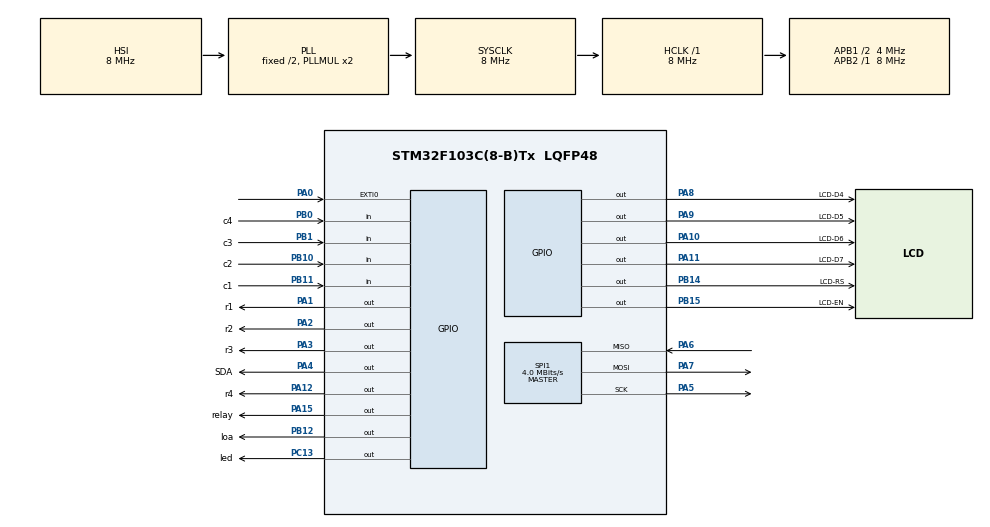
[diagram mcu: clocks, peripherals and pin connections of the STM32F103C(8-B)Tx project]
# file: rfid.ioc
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Mcu.Family=STM32F1
Mcu.Name=STM32F103C(8-B)Tx
Mcu.Package=LQFP48
NVIC.EXTI0_IRQn=true\:1\:0\:true\:false\:true\:true\:true\:true
NVIC.PriorityGroup=NVIC_PRIORITYGROUP_4
PA0-WKUP.GPIO_ModeDefaultEXTI=GPIO_MODE_IT_FALLING
PA0-WKUP.GPIO_PuPd=GPIO_PULLUP
PA0-WKUP.Signal=GPXTI0
PA1.GPIO_Label=r1
PA1.GPIO_ModeDefaultOutputPP=GPIO_MODE_OUTPUT_PP
PA1.GPIO_PuPd=GPIO_PULLUP
PA1.Signal=GPIO_Output
PA10.GPIO_Label=LCD-D6
PA10.GPIO_PuPd=GPIO_PULLUP
PA10.Signal=GPIO_Output
PA11.GPIO_Label=LCD-D7
PA11.GPIO_PuPd=GPIO_PULLUP
PA11.Signal=GPIO_Output
PA12.GPIO_Label=r4
PA12.GPIO_ModeDefaultOutputPP=GPIO_MODE_OUTPUT_PP
PA12.GPIO_PuPd=GPIO_PULLUP
PA12.Signal=GPIO_Output
PA13.Mode=Serial_Wire
PA13.Signal=SYS_JTMS-SWDIO
PA14.Mode=Serial_Wire
PA14.Signal=SYS_JTCK-SWCLK
PA15.GPIO_Label=relay
PA15.GPIO_PuPd=GPIO_PULLUP
PA15.Signal=GPIO_Output
PA2.GPIO_Label=r2
PA2.GPIO_ModeDefaultOutputPP=GPIO_MODE_OUTPUT_PP
PA2.GPIO_PuPd=GPIO_PULLUP
PA2.Signal=GPIO_Output
PA3.GPIO_Label=r3
PA3.GPIO_ModeDefaultOutputPP=GPIO_MODE_OUTPUT_PP
PA3.GPIO_PuPd=GPIO_PULLUP
PA3.Signal=GPIO_Output
PA4.GPIO_Label=SDA
PA4.GPIO_PuPd=GPIO_PULLUP
PA4.Signal=GPIO_Output
PA5.Mode=Full_Duplex_Master
PA5.Signal=SPI1_SCK
PA6.Mode=Full_Duplex_Master
PA6.Signal=SPI1_MISO
PA7.Mode=Full_Duplex_Master
PA7.Signal=SPI1_MOSI
PA8.GPIO_Label=LCD-D4
PA8.GPIO_PuPd=GPIO_PULLUP
PA8.Signal=GPIO_Output
PA9.GPIO_Label=LCD-D5
PA9.GPIO_PuPd=GPIO_PULLUP
PA9.Signal=GPIO_Output
PB0.GPIO_Label=c4
PB0.GPIO_PuPd=GPIO_PULLUP
PB0.Signal=GPIO_Input
PB1.GPIO_Label=c3
PB1.GPIO_PuPd=GPIO_PULLUP
PB1.Signal=GPIO_Input
PB10.GPIO_Label=c2
PB10.GPIO_PuPd=GPIO_PULLUP
PB10.Signal=GPIO_Input
PB11.GPIO_Label=c1
PB11.GPIO_PuPd=GPIO_PULLUP
PB11.Signal=GPIO_Input
PB12.GPIO_Label=loa
PB12.GPIO_PuPd=GPIO_PULLUP
PB12.Signal=GPIO_Output
PB14.GPIO_Label=LCD-RS
PB14.GPIO_PuPd=GPIO_PULLUP
PB14.Signal=GPIO_Output
PB15.GPIO_Label=LCD-EN
PB15.GPIO_PuPd=GPIO_PULLUP
PB15.Signal=GPIO_Output
PC13-TAMPER-RTC.GPIO_Label=led
PC13-TAMPER-RTC.GPIO_PuPd=GPIO_PULLUP
PC13-TAMPER-RTC.Signal=GPIO_Output
ProjectManager.HeapSize=0x200
ProjectManager.StackSize=0x400
ProjectManager.TargetToolchain=MDK-ARM V5.27
RCC.AHBFreq_Value=8000000
RCC.APB1CLKDivider=RCC_HCLK_DIV2
RCC.APB1Freq_Value=4000000
RCC.APB1TimFreq_Value=8000000
RCC.APB2Freq_Value=8000000
RCC.APB2TimFreq_Value=8000000
RCC.HCLKFreq_Value=8000000
RCC.SYSCLKFreq_VALUE=8000000
RCC.SYSCLKSource=RCC_SYSCLKSOURCE_PLLCLK
RCC.USBFreq_Value=8000000
SPI1.CalculateBaudRate=4.0 MBits/s
SPI1.Direction=SPI_DIRECTION_2LINES
SPI1.Mode=SPI_MODE_MASTER
SPI1.VirtualType=VM_MASTER
board=custom

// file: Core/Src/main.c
/* USER CODE BEGIN Header */
/**
  ******************************************************************************
  * @file           : main.c
  * @brief          : Main program body
  ******************************************************************************
  * @attention
  *
  * <h2><center>&copy; Copyright (c) 2021 STMicroelectronics.
  * All rights reserved.</center></h2>
  *
  * This software component is licensed by ST under BSD 3-Clause license,
  * the "License"; You may not use this file except in compliance with the
  * License. You may obtain a copy of the License at:
  *                        opensource.org/licenses/BSD-3-Clause
  *
  ******************************************************************************
  */
/* USER CODE END Header */
#include "main.h"

/* USER CODE BEGIN Includes */
#include "rfid.h"
#include "rc522.h"
#include "lcd_txt.h"
#include "keypad_4x4.h"
#include "Flash.h"
#include "stdio.h"
#include <stdlib.h>
#include <string.h>
/* USER CODE END Includes */

/* USER CODE BEGIN PTD */
typedef enum
{
    MODE_ENTERPASS = 0,
    MODE_CURRENPASS = 1,
    MODE_NEWPASS = 2,
    MODE_ADMINPASS = 3,
    MODE_ADDRFID = 4,
    MODE_DELERFID = 5,
    MODE_MENU_ADMIN = 6,
    MODE_BACKUP_DATA = 7
} mode_door;

extern rfid_store_t rfid_store;
/* USER CODE END PTD */

SPI_HandleTypeDef hspi1;

void SystemClock_Config(void);
static void MX_GPIO_Init(void);
static void MX_SPI1_Init(void);

/* USER CODE BEGIN 0 */

uint8_t i=0;
uint8_t key=0;
uint8_t pass[PASS_WORD_LENGTH]={' ',' ',' ',' '};
uint8_t pass1[PASS_WORD_LENGTH]={' ',' ',' ',' '};
uint8_t p_none[PASS_WORD_LENGTH]={' ',' ',' ',' '};
uint8_t str[5];
uint8_t serNum[5];
mode_door mode = MODE_ENTERPASS;
uint8_t flag_backup = 0;

#define OPEN_DOOR() do{ HAL_GPIO_WritePin(relay_GPIO_Port, relay_Pin, GPIO_PIN_SET);}while(0)
#define CLOSE_DOOR() do{ HAL_GPIO_WritePin(relay_GPIO_Port, relay_Pin, GPIO_PIN_RESET);}while(0)

void TT_enterPass(char key, uint8_t lengpass, uint8_t *pass, char *password, uint8_t *passIndex, uint8_t *pass1)
{
    static uint8_t pass_flag = 0;
	lcd_gotoxy(1,0);
	lcd_write(1,*(pass1 + 0));
	lcd_write(1,*(pass1 + 1));
	lcd_write(1,*(pass1 + 2));
	lcd_write(1,*(pass1 + 3));

	if (pass_flag == 3)
    {
        lcd_gotoxy(1,1);
        lcd_puts("Watting 30s");
        HAL_Delay(30000);
        lcd_gotoxy(1,1);
        lcd_puts("           ");
        lcd_gotoxy(1,0);
        pass_flag = 0;
    }
	else if(key != ' ' && key != '*' && key != '#')
    {
		if(key == 'D')
		{
			if(*passIndex > 0)
			{
				(*passIndex)--;
				*(pass + *passIndex)=' ';
				*(pass1 + *passIndex)=' ';//*****************************thua
				HAL_Delay(200);
			}
		}
		else
		{
			*(pass + *passIndex) = key;
			*(pass1 + *passIndex) = '*';//*****************************thua
			(*passIndex)++;
			*passIndex= (*passIndex >= lengpass)? lengpass : *passIndex;
			HAL_Delay(200);
		}
		if(*passIndex==lengpass)
		{
			*passIndex=0;
			uint8_t check = 0;
			for(uint8_t j=0; j<lengpass; j++)
			{
				if(*(password + j) == *(pass + j))
				{
					check++;
				}
			}
			if(check == lengpass)
			{
                pass_flag = 0; //co bao nhap sai so lan mat khau
                OPEN_DOOR();
				HAL_GPIO_WritePin(led_GPIO_Port, led_Pin,GPIO_PIN_RESET); //chan relay cua
                HAL_GPIO_WritePin(loa_GPIO_Port, loa_Pin,GPIO_PIN_SET); //chan relay cua
				lcd_gotoxy(1,0);
				lcd_puts("   --Unlock--");
				HAL_Delay(200);
				for(uint8_t j=0; j<lengpass; j++)
				{
					*(pass + j) = ' ';
					*(pass1 + j) = ' ';//*****************************thua
				}
                HAL_GPIO_WritePin(led_GPIO_Port, led_Pin,GPIO_PIN_SET);
                HAL_GPIO_WritePin(loa_GPIO_Port, loa_Pin,GPIO_PIN_RESET); //chan relay cua
                HAL_Delay(5000);
				lcd_gotoxy(1,0);
				lcd_puts("             ");
                CLOSE_DOOR();
			}
			else
			{
                pass_flag++;
//				HAL_GPIO_WritePin(loa_GPIO_Port,loa_Pin,GPIO_PIN_SET); //chan loa
				lcd_gotoxy(1,0);
				lcd_puts("wrong password!");
				HAL_Delay(700);
				for(uint8_t j=0; j<lengpass; j++)
				{
					*(pass + j) = ' ';
					*(pass1 + j) = ' ';//*****************************thua
				}
				lcd_gotoxy(1,0);
				lcd_puts("               ");
//				HAL_GPIO_WritePin(loa_GPIO_Port,loa_Pin,GPIO_PIN_RESET); //chan loa
			}
		}
	}
}

void TT_newPass(uint8_t key, uint8_t lengpass, uint8_t *pass, char *password, uint8_t *passIndex, mode_door *mode)
{
	lcd_gotoxy(1,0);
	for(uint8_t j = 0; j < lengpass; j++)
	{
		lcd_write(1,*(pass + j));
	}

	if(key != ' ' && key != '*' && key != '#'){
		if(key == 'D')
		{
			if(*passIndex > 0)
			{
				(*passIndex)--;
				*(pass + *passIndex)=' ';
				HAL_Delay(200);
			}
		}
		else
		{
			*(pass + *passIndex) = key;
			(*passIndex)++;
			*passIndex= (*passIndex >= lengpass)? lengpass : *passIndex;
			HAL_Delay(200);
		}
		if(*passIndex==lengpass)
		{
			*passIndex=0;
			uint8_t check = 0;
			for(uint8_t j=0; j<lengpass; j++)
			{
				*(password + j) = *(pass + j);
				check++;
			}
			if(check == lengpass)
			{
				lcd_gotoxy(1,0);
				lcd_puts("Success!");
				HAL_Delay(2000);
				lcd_gotoxy(1,0);
				lcd_puts("        ");
				for(uint8_t j=0; j<lengpass; j++)
				{
					*(pass + j) = ' ';
				}
				*mode = MODE_ENTERPASS;
				lcd_clear();
				lcd_gotoxy(0,0);
				lcd_puts("DOOR PASSWORD");
			}
		}
	}
}

void TT_currenPass(uint8_t key, uint8_t lengpass, uint8_t *pass, char *password, uint8_t *passIndex, mode_door *mode, uint8_t *pass1)
{
	lcd_gotoxy(1,0);
	for(uint8_t j = 0; j < lengpass; j++)
	{
		lcd_write(1,*(pass1 + j));
	}

	if(key != ' ' && key != '*' && key != '#'){
		if(key == 'D')
		{
			if(*passIndex > 0)
			{
				(*passIndex)--;
				*(pass + *passIndex)=' ';
				*(pass1 + *passIndex)=' ';//*****************************thua
				HAL_Delay(200);
			}
		}
		else
		{
			*(pass + *passIndex) = key;
			*(pass1 + *passIndex) = '*';//*****************************thua
			(*passIndex)++;
			*passIndex= (*passIndex >= lengpass)? lengpass : *passIndex;
			HAL_Delay(200);
		}
		if(*passIndex==lengpass)
		{
			*passIndex=0;
			uint8_t check = 0;
			for(uint8_t j=0; j<lengpass; j++)
			{
				if(*(password + j) == *(pass + j))
				{
					check++;
				}
			}
			if(check == lengpass)
			{
				*mode = MODE_NEWPASS;
				for(uint8_t j=0; j<lengpass; j++)
				{
					*(pass + j) = ' ';
					*(pass1 + j) = ' ';//*****************************thua
				}
				lcd_clear();
				lcd_gotoxy(0,0);
				lcd_puts("NEW PASSWORD: ");
			}
			else
			{
				lcd_gotoxy(1,0);
				lcd_puts("wrong password!");
				HAL_Delay(2000);
				lcd_gotoxy(1,0);
				lcd_puts("               ");
				for(uint8_t j=0; j<lengpass; j++)
				{
					*(pass + j) = ' ';
					*(pass1 + j) = ' ';//*****************************thua
				}
			}
		}
	}
}

void TT_adminPass(uint8_t key, uint8_t lengpass, uint8_t *pass, char *pass_ad, uint8_t *passIndex, mode_door *mode, uint8_t *pass1)
{
	lcd_gotoxy(1,0);
	for(uint8_t j = 0; j < lengpass; j++)
	{
		lcd_write(1,*(pass1 + j));
	}

	if(key != ' ' && key != '*' && key != '#'){
		if(key == 'D')
		{
			if(*passIndex > 0)
			{
				(*passIndex)--;
				*(pass + *passIndex)=' ';
				*(pass1 + *passIndex)=' ';//*****************************thua
				HAL_Delay(200);
			}
		}
		else
		{
			*(pass + *passIndex) = key;
			*(pass1 + *passIndex) = '*';//*****************************thua
			(*passIndex)++;
			*passIndex= (*passIndex >= lengpass)? lengpass : *passIndex;
			HAL_Delay(200);
		}
		if(*passIndex==lengpass)
		{
			*passIndex=0;
			uint8_t check = 0;
			for(uint8_t j=0; j<lengpass; j++)
			{
				if(*(pass_ad + j) == *(pass + j))
				{
					check++;
				}
			}
			if(check == lengpass)
			{
				*mode = MODE_MENU_ADMIN;
				for(uint8_t j=0; j<lengpass; j++)
				{
					*(pass + j) = ' ';
					*(pass1 + j) = ' ';//*****************************thua
				}
                lcd_clear();
                lcd_gotoxy(0,0);
                lcd_puts("ADMIN MENU: ");
                lcd_gotoxy(1,0);
                lcd_puts("Add Del Chan Bkp");
			}
			else
			{
				lcd_gotoxy(1,0);
				lcd_puts("wrong password!");
				HAL_Delay(2000);
				lcd_gotoxy(1,0);
				lcd_puts("               ");
				for(uint8_t j=0; j<lengpass; j++)
				{
					*(pass + j) = ' ';
					*(pass1 + j) = ' ';//*****************************thua
				}
			}
		}
	}
}

void TT_menu_admin(uint8_t key, mode_door *mode, uint8_t* flag_backup)
{
    if(key == 'A')
    {
        *mode = MODE_ADDRFID;
        lcd_clear();
        lcd_gotoxy(0,0);
        lcd_puts("ADD NEW RFID: ");
        lcd_gotoxy(1,0);
        lcd_puts("watting card...");
    }
    else if(key == 'D')
    {
       *mode = MODE_DELERFID;
        lcd_clear();
        lcd_gotoxy(0,0);
        lcd_puts("DELETE RFID: ");
        lcd_gotoxy(1,0);
        lcd_puts("watting card...");
    }
    else if(key == 'C')
    {
        lcd_clear();
        lcd_gotoxy(0,0);
        lcd_puts("CURREN PASSWORD: ");//CURREN PASS
        lcd_gotoxy(1,0);
        *mode = MODE_CURRENPASS;
        memcpy(pass, p_none, 4);
        memcpy(pass1, p_none, 4);
        i = 0;
    }
    else if(key == 'B')
    {
        *mode = MODE_BACKUP_DATA;
        *flag_backup = 0;
    }
}

void TT_backup_data(uint8_t* flag_backup, mode_door* mode)
{
    if(*flag_backup == 0)
    {
        rfid_store_data();
        lcd_clear();
        lcd_gotoxy(0,0);
        lcd_puts("BACKUP DATA");
        lcd_gotoxy(1,0);
        lcd_puts("watting...");
        HAL_Delay(1000);
        lcd_gotoxy(1,0);
        lcd_puts("          ");
        lcd_gotoxy(1,0);
        lcd_puts("OK");
        HAL_Delay(2000);
        *flag_backup = 1;
        *mode = MODE_ENTERPASS;
        lcd_clear();
        lcd_gotoxy(0,0);
        lcd_puts("DOOR PASSWORD");
        lcd_gotoxy(1,0);

    }
}
void TT_add_rfid(rfid_store_t* rfid_store, mode_door* mode)
{
    uint8_t str[5] = {0};
    if(TM_MFRC522_Request(PICC_REQIDL,str) == MI_OK) //dao ko PHAT HIEN THE
    {
        if(TM_MFRC522_Anticoll(str) == MI_OK)
        {
            if(rfid_get_id(str) == RFID_INVALID_ID)
            {
                /*them the truong hop khong ton tai the do*/
                rfid_add(str);
                *mode = MODE_ENTERPASS;
                lcd_gotoxy(1,0);
                lcd_puts("               ");
                lcd_gotoxy(1,0);
                lcd_puts("0k");
                HAL_Delay(2000);
                lcd_clear();
                lcd_gotoxy(0,0);
                lcd_puts("DOOR PASSWORD");
                lcd_gotoxy(1,0);

            }
            else
            {
                *mode = MODE_ENTERPASS;
                lcd_gotoxy(1,0);
                lcd_puts("               ");
                lcd_gotoxy(1,0);
                lcd_puts("already exist");
                HAL_Delay(2000);
                lcd_clear();
                lcd_gotoxy(0,0);
                lcd_puts("DOOR PASSWORD");
                lcd_gotoxy(1,0);
            }
        }
    }
}

void TT_dele_rfid(rfid_store_t* rfid_store, mode_door* mode)
{
    uint8_t str[5] = {0};
    if(TM_MFRC522_Request(PICC_REQIDL,str) == MI_OK) //dao ko PHAT HIEN THE
    {
        if(TM_MFRC522_Anticoll(str) == MI_OK)
        {
            if(rfid_get_id(str) != RFID_INVALID_ID)
            {
                /*them the truong hop khong ton tai the do*/
                rfid_delete(str);
                *mode = MODE_ENTERPASS;
                lcd_gotoxy(1,0);
                lcd_puts("               ");
                lcd_gotoxy(1,0);
                lcd_puts("0k");
                HAL_Delay(2000);
                lcd_clear();
                lcd_gotoxy(0,0);
                lcd_puts("DOOR PASSWORD");
                lcd_gotoxy(1,0);

            }
            else
            {
                *mode = MODE_ENTERPASS;
                lcd_gotoxy(1,0);
                lcd_puts("               ");
                lcd_gotoxy(1,0);
                lcd_puts("invalid");
                HAL_Delay(2000);
                lcd_clear();
                lcd_gotoxy(0,0);
                lcd_puts("DOOR PASSWORD");
                lcd_gotoxy(1,0);
            }
        }
    }
}

/* USER CODE END 0 */

int main(void)
{
  /* USER CODE BEGIN 1 */
    rfid_restore_data();
  /* USER CODE END 1 */

  /* MCU Configuration--------------------------------------------------------*/

  /* Reset of all peripherals, Initializes the Flash interface and the Systick. */
  HAL_Init();

  /* Configure the system clock */
  SystemClock_Config();

  /* Initialize all configured peripherals */
  MX_GPIO_Init();
  MX_SPI1_Init();
  /* USER CODE BEGIN 2 */
	TM_MFRC522_Init();
	lcd_init();
    HAL_GPIO_WritePin(led_GPIO_Port, led_Pin, GPIO_PIN_SET); //chan led
    HAL_GPIO_WritePin(loa_GPIO_Port, loa_Pin, GPIO_PIN_RESET); //chan loa
    lcd_clear();
    lcd_puts("DOOR PASSWORD");
	lcd_gotoxy(1,0);

  /* USER CODE END 2 */

  /* Infinite loop */
  /* USER CODE BEGIN WHILE */
  while (1)
  {
    key = keypad_get_key_value();
    // thiet lap che do
    if(key == '*' && mode != 0)
    {
        mode = MODE_ENTERPASS;
        i=0;
        lcd_clear();
        lcd_gotoxy(0,0);
        lcd_puts("DOOR PASSWORD");
        lcd_gotoxy(1,0);
    }
    else if(key == '#')
    {
        mode = MODE_ADMINPASS;
        i=0;
        lcd_clear();
        lcd_gotoxy(0,0);
        lcd_puts("ADMIN PASSWORD: ");//ADMIN PASS
        lcd_gotoxy(1,0);
    }

    switch(mode)
    {
        case MODE_ENTERPASS:
            TT_enterPass(key, PASS_WORD_LENGTH, pass, rfid_store.door_pass, &i, pass1);
            if(TM_MFRC522_Request(PICC_REQIDL,str) == MI_OK) //dao ko PHAT HIEN THE
            {
                if(TM_MFRC522_Anticoll(str) == MI_OK)
                {
                    if(rfid_get_id(str) != RFID_INVALID_ID)
                    {
                        OPEN_DOOR();
                        HAL_GPIO_WritePin(GPIOC,GPIO_PIN_13,GPIO_PIN_RESET);
                        HAL_GPIO_WritePin(loa_GPIO_Port,loa_Pin,GPIO_PIN_SET); //loa
                        lcd_gotoxy(1,0);
                        lcd_puts ("   --Unlock--");
                        HAL_Delay(200);
                        HAL_GPIO_WritePin(led_GPIO_Port,led_Pin,GPIO_PIN_SET);//led
                        HAL_GPIO_WritePin(loa_GPIO_Port,loa_Pin,GPIO_PIN_RESET);//loa
                        HAL_Delay(5000);
                        lcd_gotoxy(1,0);
                        lcd_puts ("              ");
                        CLOSE_DOOR();
                        memcpy(pass, p_none, 4);
                        memcpy(pass1, p_none, 4);
                        i = 0;
                    }
                }
             }
            break;
        case MODE_NEWPASS:
            TT_newPass(key, PASS_WORD_LENGTH, pass, rfid_store.door_pass, &i, &mode);
            break;
        case MODE_CURRENPASS:
            TT_currenPass(key,PASS_WORD_LENGTH, pass, rfid_store.door_pass, &i, &mode, pass1);
            break;
        case MODE_ADMINPASS:
            TT_adminPass(key,PASS_WORD_LENGTH, pass, rfid_store.admin_pass, &i, &mode, pass1);
            break;
        case MODE_ADDRFID:
            TT_add_rfid(&rfid_store, &mode);
            break;
        case MODE_DELERFID:
            TT_dele_rfid(&rfid_store, &mode);
            break;
        case MODE_MENU_ADMIN:
            TT_menu_admin(key, &mode, &flag_backup);
            break;
        case MODE_BACKUP_DATA:
            TT_backup_data(&flag_backup, &mode);
            break;
        default:
            break;
    }

    HAL_Delay(100);
    /* USER CODE END WHILE */

  }
}

void SystemClock_Config(void)
{
  RCC_OscInitTypeDef RCC_OscInitStruct = {0};
  RCC_ClkInitTypeDef RCC_ClkInitStruct = {0};

  /** Initializes the RCC Oscillators according to the specified parameters
  * in the RCC_OscInitTypeDef structure.
  */
  RCC_OscInitStruct.OscillatorType = RCC_OSCILLATORTYPE_HSI;
  RCC_OscInitStruct.HSIState = RCC_HSI_ON;
  RCC_OscInitStruct.HSICalibrationValue = RCC_HSICALIBRATION_DEFAULT;
  RCC_OscInitStruct.PLL.PLLState = RCC_PLL_ON;
  RCC_OscInitStruct.PLL.PLLSource = RCC_PLLSOURCE_HSI_DIV2;
  RCC_OscInitStruct.PLL.PLLMUL = RCC_PLL_MUL2;
  if (HAL_RCC_OscConfig(&RCC_OscInitStruct) != HAL_OK)
  {
    Error_Handler();
  }
  /** Initializes the CPU, AHB and APB buses clocks
  */
  RCC_ClkInitStruct.ClockType = RCC_CLOCKTYPE_HCLK|RCC_CLOCKTYPE_SYSCLK
                              |RCC_CLOCKTYPE_PCLK1|RCC_CLOCKTYPE_PCLK2;
  RCC_ClkInitStruct.SYSCLKSource = RCC_SYSCLKSOURCE_PLLCLK;
  RCC_ClkInitStruct.AHBCLKDivider = RCC_SYSCLK_DIV1;
  RCC_ClkInitStruct.APB1CLKDivider = RCC_HCLK_DIV2;
  RCC_ClkInitStruct.APB2CLKDivider = RCC_HCLK_DIV1;

  if (HAL_RCC_ClockConfig(&RCC_ClkInitStruct, FLASH_LATENCY_0) != HAL_OK)
  {
    Error_Handler();
  }
}

static void MX_SPI1_Init(void)
{

  /* SPI1 parameter configuration*/
  hspi1.Instance = SPI1;
  hspi1.Init.Mode = SPI_MODE_MASTER;
  hspi1.Init.Direction = SPI_DIRECTION_2LINES;
  hspi1.Init.DataSize = SPI_DATASIZE_8BIT;
  hspi1.Init.CLKPolarity = SPI_POLARITY_LOW;
  hspi1.Init.CLKPhase = SPI_PHASE_1EDGE;
  hspi1.Init.NSS = SPI_NSS_SOFT;
  hspi1.Init.BaudRatePrescaler = SPI_BAUDRATEPRESCALER_2;
  hspi1.Init.FirstBit = SPI_FIRSTBIT_MSB;
  hspi1.Init.TIMode = SPI_TIMODE_DISABLE;
  hspi1.Init.CRCCalculation = SPI_CRCCALCULATION_DISABLE;
  hspi1.Init.CRCPolynomial = 10;
  if (HAL_SPI_Init(&hspi1) != HAL_OK)
  {
    Error_Handler();
  }

}

static void MX_GPIO_Init(void)
{
  GPIO_InitTypeDef GPIO_InitStruct = {0};

  /* GPIO Ports Clock Enable */
  __HAL_RCC_GPIOC_CLK_ENABLE();
  __HAL_RCC_GPIOA_CLK_ENABLE();
  __HAL_RCC_GPIOB_CLK_ENABLE();

  /*Configure GPIO pin Output Level */
  HAL_GPIO_WritePin(led_GPIO_Port, led_Pin, GPIO_PIN_RESET);

  /*Configure GPIO pin Output Level */
  HAL_GPIO_WritePin(GPIOA, r1_Pin|r2_Pin|r3_Pin|SDA_Pin
                          |LCD_D4_Pin|LCD_D5_Pin|LCD_D6_Pin|LCD_D7_Pin
                          |r4_Pin|relay_Pin, GPIO_PIN_RESET);

  /*Configure GPIO pin Output Level */
  HAL_GPIO_WritePin(GPIOB, loa_Pin|LCD_RS_Pin|LCD_EN_Pin, GPIO_PIN_RESET);

  /*Configure GPIO pin : led_Pin */
  GPIO_InitStruct.Pin = led_Pin;
  GPIO_InitStruct.Mode = GPIO_MODE_OUTPUT_PP;
  GPIO_InitStruct.Pull = GPIO_PULLUP;
  GPIO_InitStruct.Speed = GPIO_SPEED_FREQ_LOW;
  HAL_GPIO_Init(led_GPIO_Port, &GPIO_InitStruct);

  /*Configure GPIO pin : PA0 */
  GPIO_InitStruct.Pin = GPIO_PIN_0;
  GPIO_InitStruct.Mode = GPIO_MODE_IT_FALLING;
  GPIO_InitStruct.Pull = GPIO_PULLUP;
  HAL_GPIO_Init(GPIOA, &GPIO_InitStruct);

  /*Configure GPIO pins : r1_Pin r2_Pin r3_Pin SDA_Pin
                           LCD_D4_Pin LCD_D5_Pin LCD_D6_Pin LCD_D7_Pin
                           r4_Pin relay_Pin */
  GPIO_InitStruct.Pin = r1_Pin|r2_Pin|r3_Pin|SDA_Pin
                          |LCD_D4_Pin|LCD_D5_Pin|LCD_D6_Pin|LCD_D7_Pin
                          |r4_Pin|relay_Pin;
  GPIO_InitStruct.Mode = GPIO_MODE_OUTPUT_PP;
  GPIO_InitStruct.Pull = GPIO_PULLUP;
  GPIO_InitStruct.Speed = GPIO_SPEED_FREQ_LOW;
  HAL_GPIO_Init(GPIOA, &GPIO_InitStruct);

  /*Configure GPIO pins : c4_Pin c3_Pin c2_Pin c1_Pin */
  GPIO_InitStruct.Pin = c4_Pin|c3_Pin|c2_Pin|c1_Pin;
  GPIO_InitStruct.Mode = GPIO_MODE_INPUT;
  GPIO_InitStruct.Pull = GPIO_PULLUP;
  HAL_GPIO_Init(GPIOB, &GPIO_InitStruct);

  /*Configure GPIO pins : loa_Pin LCD_RS_Pin LCD_EN_Pin */
  GPIO_InitStruct.Pin = loa_Pin|LCD_RS_Pin|LCD_EN_Pin;
  GPIO_InitStruct.Mode = GPIO_MODE_OUTPUT_PP;
  GPIO_InitStruct.Pull = GPIO_PULLUP;
  GPIO_InitStruct.Speed = GPIO_SPEED_FREQ_LOW;
  HAL_GPIO_Init(GPIOB, &GPIO_InitStruct);

  /* EXTI interrupt init*/
  HAL_NVIC_SetPriority(EXTI0_IRQn, 1, 0);
  HAL_NVIC_EnableIRQ(EXTI0_IRQn);

}

void Error_Handler(void)
{
  __disable_irq();
  while (1)
  {
  }
}

/************************ (C) COPYRIGHT STMicroelectronics *****END OF FILE****/
